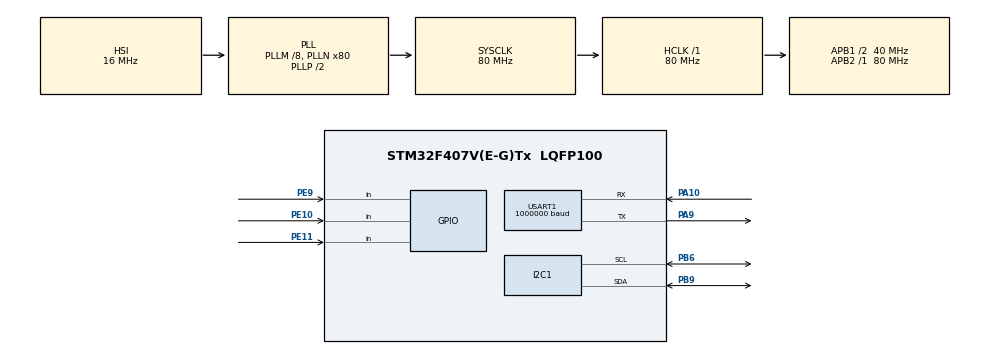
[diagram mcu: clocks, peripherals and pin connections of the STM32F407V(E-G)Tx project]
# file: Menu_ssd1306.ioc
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I2C1.I2C_Mode=I2C_Fast
Mcu.Family=STM32F4
Mcu.Name=STM32F407V(E-G)Tx
Mcu.Package=LQFP100
NVIC.PriorityGroup=NVIC_PRIORITYGROUP_4
NVIC.TIM3_IRQn=true\:0\:0\:false\:false\:true\:true\:true\:true
PA10.Mode=Asynchronous
PA10.Signal=USART1_RX
PA9.Mode=Asynchronous
PA9.Signal=USART1_TX
PB6.Mode=I2C
PB6.Signal=I2C1_SCL
PB9.Mode=I2C
PB9.Signal=I2C1_SDA
PE10.Signal=GPIO_Input
PE11.Signal=GPIO_Input
PE9.Signal=GPIO_Input
ProjectManager.HeapSize=0x200
ProjectManager.StackSize=0x400
ProjectManager.TargetToolchain=STM32CubeIDE
RCC.48MHZClocksFreq_Value=40000000
RCC.AHBFreq_Value=80000000
RCC.APB1CLKDivider=RCC_HCLK_DIV2
RCC.APB1Freq_Value=40000000
RCC.APB1TimFreq_Value=80000000
RCC.APB2Freq_Value=80000000
RCC.APB2TimFreq_Value=80000000
RCC.CortexFreq_Value=80000000
RCC.HCLKFreq_Value=80000000
RCC.HSE_VALUE=25000000
RCC.HSI_VALUE=16000000
RCC.LSE_VALUE=32768
RCC.PLLM=8
RCC.PLLN=80
RCC.SYSCLKFreq_VALUE=80000000
RCC.SYSCLKSource=RCC_SYSCLKSOURCE_PLLCLK
RCC.VCOOutputFreq_Value=160000000
TIM3.Period=10000
TIM3.Prescaler=79
USART1.BaudRate=1000000
USART1.VirtualMode=VM_ASYNC
VP_TIM3_VS_ClockSourceINT.Mode=Internal
board=custom

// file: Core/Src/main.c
/* USER CODE BEGIN Header */
/**
 ******************************************************************************
 * @file           : main.c
 * @brief          : Main program body
 ******************************************************************************
 * @attention
 *
 * Copyright (c) 2024 STMicroelectronics.
 * All rights reserved.
 *
 * This software is licensed under terms that can be found in the LICENSE file
 * in the root directory of this software component.
 * If no LICENSE file comes with this software, it is provided AS-IS.
 *
 ******************************************************************************
 */
/* USER CODE END Header */
#include "main.h"

/* USER CODE BEGIN Includes */
#include <ssd1306.h>
#include <ssd1306_fonts.h>
#include "png.h"
#include <stdio.h>
#include <string.h>
#include "DEFINES_FUNCTIONS.h"
#include <math.h>

/* USER CODE END Includes */

I2C_HandleTypeDef hi2c1;

TIM_HandleTypeDef htim3;

UART_HandleTypeDef huart1;

void SystemClock_Config(void);
static void MX_GPIO_Init(void);
static void MX_I2C1_Init(void);
static void MX_USART1_UART_Init(void);
static void MX_TIM3_Init(void);

int main(void) {

	/* MCU Configuration--------------------------------------------------------*/

	/* Reset of all peripherals, Initializes the Flash interface and the Systick. */
	HAL_Init();

	/* Configure the system clock */
	SystemClock_Config();

	/* Initialize all configured peripherals */
	MX_GPIO_Init();
	MX_I2C1_Init();
	MX_USART1_UART_Init();
	MX_TIM3_Init();
	/* USER CODE BEGIN 2 */
	ssd1306_Init();
	MPU6050_Init();
	BMP280_Init();
	HAL_TIM_Base_Start_IT(&htim3);
	current_screen = 0;

	/* USER CODE END 2 */

	/* Infinite loop */
	/* USER CODE BEGIN WHILE */
	while (1) {

		if (Data_Ready) {
			MPU6050_Read_Measures();
			Data_Ready = 0;
		}

		if (current_screen == 0) {

			if (HAL_GPIO_ReadPin(GPIOE, ENTER_BUTTON)) {
				current_screen = !current_screen;
				HAL_Delay(200);
			}

			if (HAL_GPIO_ReadPin(GPIOE, UP_BUTTON) == GPIO_PIN_SET
					&& button_up_clicked == 0) {
				button_up_clicked = 1; // Marcar como pressionado
				cursor--;
				if (cursor == -1)
					cursor = 3;
				item_selected--;
				if (item_selected < 0)
					item_selected = NUM_ITEMS - 1;
			}
			// Liberar o botão UP
			if (HAL_GPIO_ReadPin(GPIOE, UP_BUTTON) == GPIO_PIN_RESET) {
				button_up_clicked = 0;
			}

			// Verificar estado do botão DOWN
			if (HAL_GPIO_ReadPin(GPIOE, DOWN_BUTTON) == GPIO_PIN_SET
					&& button_down_clicked == 0) {
				button_down_clicked = 1; // Marcar como pressionado
				cursor++;
				if (cursor == 4)
					cursor = 0;
				item_selected++;
				if (item_selected >= NUM_ITEMS)
					item_selected = 0;
			}
			// Liberar o botão DOWN
			if (HAL_GPIO_ReadPin(GPIOE, DOWN_BUTTON) == GPIO_PIN_RESET) {
				button_down_clicked = 0;
			}

			menu();
		}

		if (current_screen) {

			if (HAL_GPIO_ReadPin(GPIOE, ENTER_BUTTON)) {
				current_screen = !current_screen;
				HAL_Delay(200);
			}

			ssd1306_Fill(0);

			if (item_selected == 0)
				print_BMP280();
			else if (item_selected == 1)
				print_gyro();
			else if (item_selected == 2)
				calibration();
			else if (item_selected == 3)
				print_kalman();
		}

		item_sel_previous = item_selected - 1;
		if (item_sel_previous < 0) {
			item_sel_previous = NUM_ITEMS - 1;
		} // previous item would be below first = make it the last
		item_sel_next = item_selected + 1;
		if (item_sel_next >= NUM_ITEMS) {
			item_sel_next = 0;
		} // next item would be after last = make it the first
		ssd1306_UpdateScreen();

		/* USER CODE END WHILE */

	}
}

void SystemClock_Config(void) {
	RCC_OscInitTypeDef RCC_OscInitStruct = { 0 };
	RCC_ClkInitTypeDef RCC_ClkInitStruct = { 0 };

	/** Configure the main internal regulator output voltage
	 */
	__HAL_RCC_PWR_CLK_ENABLE();
	__HAL_PWR_VOLTAGESCALING_CONFIG(PWR_REGULATOR_VOLTAGE_SCALE1);

	/** Initializes the RCC Oscillators according to the specified parameters
	 * in the RCC_OscInitTypeDef structure.
	 */
	RCC_OscInitStruct.OscillatorType = RCC_OSCILLATORTYPE_HSI;
	RCC_OscInitStruct.HSIState = RCC_HSI_ON;
	RCC_OscInitStruct.HSICalibrationValue = RCC_HSICALIBRATION_DEFAULT;
	RCC_OscInitStruct.PLL.PLLState = RCC_PLL_ON;
	RCC_OscInitStruct.PLL.PLLSource = RCC_PLLSOURCE_HSI;
	RCC_OscInitStruct.PLL.PLLM = 8;
	RCC_OscInitStruct.PLL.PLLN = 80;
	RCC_OscInitStruct.PLL.PLLP = RCC_PLLP_DIV2;
	RCC_OscInitStruct.PLL.PLLQ = 4;
	if (HAL_RCC_OscConfig(&RCC_OscInitStruct) != HAL_OK) {
		Error_Handler();
	}

	/** Initializes the CPU, AHB and APB buses clocks
	 */
	RCC_ClkInitStruct.ClockType = RCC_CLOCKTYPE_HCLK | RCC_CLOCKTYPE_SYSCLK
			| RCC_CLOCKTYPE_PCLK1 | RCC_CLOCKTYPE_PCLK2;
	RCC_ClkInitStruct.SYSCLKSource = RCC_SYSCLKSOURCE_PLLCLK;
	RCC_ClkInitStruct.AHBCLKDivider = RCC_SYSCLK_DIV1;
	RCC_ClkInitStruct.APB1CLKDivider = RCC_HCLK_DIV2;
	RCC_ClkInitStruct.APB2CLKDivider = RCC_HCLK_DIV1;

	if (HAL_RCC_ClockConfig(&RCC_ClkInitStruct, FLASH_LATENCY_2) != HAL_OK) {
		Error_Handler();
	}
}

static void MX_I2C1_Init(void) {

	hi2c1.Instance = I2C1;
	hi2c1.Init.ClockSpeed = 400000;
	hi2c1.Init.DutyCycle = I2C_DUTYCYCLE_2;
	hi2c1.Init.OwnAddress1 = 0;
	hi2c1.Init.AddressingMode = I2C_ADDRESSINGMODE_7BIT;
	hi2c1.Init.DualAddressMode = I2C_DUALADDRESS_DISABLE;
	hi2c1.Init.OwnAddress2 = 0;
	hi2c1.Init.GeneralCallMode = I2C_GENERALCALL_DISABLE;
	hi2c1.Init.NoStretchMode = I2C_NOSTRETCH_DISABLE;
	if (HAL_I2C_Init(&hi2c1) != HAL_OK) {
		Error_Handler();
	}

}

static void MX_TIM3_Init(void) {

	TIM_ClockConfigTypeDef sClockSourceConfig = { 0 };
	TIM_MasterConfigTypeDef sMasterConfig = { 0 };

	htim3.Instance = TIM3;
	htim3.Init.Prescaler = 79;
	htim3.Init.CounterMode = TIM_COUNTERMODE_UP;
	htim3.Init.Period = 10000;
	htim3.Init.ClockDivision = TIM_CLOCKDIVISION_DIV1;
	htim3.Init.AutoReloadPreload = TIM_AUTORELOAD_PRELOAD_DISABLE;
	if (HAL_TIM_Base_Init(&htim3) != HAL_OK) {
		Error_Handler();
	}
	sClockSourceConfig.ClockSource = TIM_CLOCKSOURCE_INTERNAL;
	if (HAL_TIM_ConfigClockSource(&htim3, &sClockSourceConfig) != HAL_OK) {
		Error_Handler();
	}
	sMasterConfig.MasterOutputTrigger = TIM_TRGO_RESET;
	sMasterConfig.MasterSlaveMode = TIM_MASTERSLAVEMODE_DISABLE;
	if (HAL_TIMEx_MasterConfigSynchronization(&htim3, &sMasterConfig)
			!= HAL_OK) {
		Error_Handler();
	}

}

static void MX_USART1_UART_Init(void) {

	huart1.Instance = USART1;
	huart1.Init.BaudRate = 1000000;
	huart1.Init.WordLength = UART_WORDLENGTH_8B;
	huart1.Init.StopBits = UART_STOPBITS_1;
	huart1.Init.Parity = UART_PARITY_NONE;
	huart1.Init.Mode = UART_MODE_TX_RX;
	huart1.Init.HwFlowCtl = UART_HWCONTROL_NONE;
	huart1.Init.OverSampling = UART_OVERSAMPLING_16;
	if (HAL_UART_Init(&huart1) != HAL_OK) {
		Error_Handler();
	}

}

static void MX_GPIO_Init(void) {
	GPIO_InitTypeDef GPIO_InitStruct = { 0 };

	/* GPIO Ports Clock Enable */
	__HAL_RCC_GPIOE_CLK_ENABLE();
	__HAL_RCC_GPIOA_CLK_ENABLE();
	__HAL_RCC_GPIOB_CLK_ENABLE();

	/*Configure GPIO pins : PE9 PE10 PE11 */
	GPIO_InitStruct.Pin = GPIO_PIN_9 | GPIO_PIN_10 | GPIO_PIN_11;
	GPIO_InitStruct.Mode = GPIO_MODE_INPUT;
	GPIO_InitStruct.Pull = GPIO_NOPULL;
	HAL_GPIO_Init(GPIOE, &GPIO_InitStruct);

}

/* USER CODE BEGIN 4 */

void HAL_TIM_PeriodElapsedCallback(TIM_HandleTypeDef *htim) {
	Data_Ready = 1;
}

int __io_putchar(int ch) {
	USART1->DR = (ch & (uint16_t) 0x01FF);
	while (!(USART1->SR & USART_SR_TXE))
		; //espera pelo fim da transmissão do caractere para evitar a segunda transmissão antes da primeira ser concluída
	return ch;
}
int __io_getchar(void) {
	return (uint16_t) (USART1->DR & (uint16_t) 0x01FF);
}
//ISR da USART1. Todas as ISR's estão definidas no arquivo startup_stm32.s
void USART1_IRQHandler(void) {
	__io_putchar(__io_getchar());
}

/* USER CODE END 4 */

void Error_Handler(void) {
	__disable_irq();
	while (1) {
	}
}
